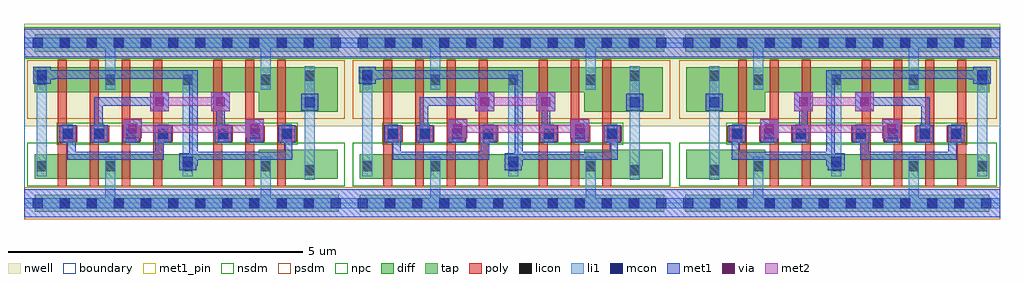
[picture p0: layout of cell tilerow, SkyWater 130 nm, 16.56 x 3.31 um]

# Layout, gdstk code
from math import pi, radians
import gdstk
lib = gdstk.Library(unit=1e-6, precision=1e-09)
def R(c, l, rs):  # rectangles x0, y0, x1, y1
    for r in rs: c.add(gdstk.rectangle(r[:2], r[2:], *l))
def A(c, l, x, y, w, h, nx, ny, dx, dy):  # array of equal rectangles
    R(c, l, [(x+i*dx, y+j*dy, x+i*dx+w, y+j*dy+h) for i in range(nx) for j in range(ny)])
nwell = (64, 20)
diff = (65, 20)
tap = (65, 44)
poly = (66, 20)
licon = (66, 44)
li1 = (67, 20)
mcon = (67, 44)
met1_pin = (68, 16)
met1 = (68, 20)
via = (68, 44)
met2 = (69, 20)
nsdm = (93, 44)
psdm = (94, 20)
npc = (95, 20)
boundary = (235, 4)

maj3 = lib.new_cell('maj3')
R(maj3, nwell, [(0,1.31,5.52,3.045)])
R(maj3, diff, [(0.18,0.415,4.295,0.835), (3.985,0.415,5.32,0.905), (3.985,1.555,5.32,2.305), (0.18,1.885,4.295,2.305)])
R(maj3, tap, [(0.18,-0.145,5.34,0.145), (0.18,2.575,5.34,2.865)])
A(maj3, poly, 0.575, 0.285, 0.15, 2.15, 4, 1, 0.54, 0)
A(maj3, poly, 3.215, 0.285, 0.15, 2.15, 3, 1, 0.54, 0)
A(maj3, poly, 0.575, 1.045, 0.33, 0.27, 4, 1, 0.54, 0)
A(maj3, poly, 3.215, 1.045, 0.33, 0.27, 3, 1, 0.54, 0)
A(maj3, licon, 0.605, -0.085, 0.17, 0.17, 10, 2, 0.46, 2.72)
A(maj3, licon, 1.375, 0.54, 0.17, 0.17, 3, 2, 1.32, 1.47)
A(maj3, licon, 0.655, 1.095, 0.17, 0.17, 4, 1, 0.54, 0)
A(maj3, licon, 3.295, 1.095, 0.17, 0.17, 3, 1, 0.54, 0)
R(maj3, licon, [(4.76,0.475,4.93,0.645), (0.22,0.54,0.39,0.71), (0.22,2.01,0.39,2.18), (4.76,2.075,4.93,2.245)])
A(maj3, li1, 1.375, 0.46, 0.17, 0.33, 3, 2, 1.32, 1.47)
A(maj3, li1, 0.655, 1.015, 0.17, 0.33, 4, 1, 0.54, 0)
A(maj3, li1, 3.295, 1.015, 0.17, 0.33, 3, 1, 0.54, 0)
R(maj3, li1, [(0,-0.085,5.52,0.085), (1.375,-0.085,1.545,0.79), (4.015,-0.085,4.185,0.79), (4.76,0.395,4.93,0.725), (4.76,0.395,4.93,2.325), (0.22,0.46,0.39,0.79), (0.22,0.46,0.39,2.26), (2.695,0.46,2.865,2.26), (0.22,1.93,0.39,2.26), (1.375,1.93,1.545,2.805), (4.015,1.93,4.185,2.805), (4.76,1.995,4.93,2.325), (0,2.635,5.52,2.805)])
A(maj3, mcon, 0.145, -0.085, 0.17, 0.17, 12, 2, 0.46, 2.72)
A(maj3, mcon, 0.655, 1.095, 0.17, 0.17, 4, 1, 0.54, 0)
A(maj3, mcon, 3.295, 1.095, 0.17, 0.17, 3, 1, 0.54, 0)
R(maj3, mcon, [(2.695,0.62,2.865,0.79), (4.76,1.63,4.93,1.8), (0.22,2.09,0.39,2.26)])
A(maj3, met1_pin, 0.595, 1.035, 0.29, 0.29, 3, 1, 0.54, 0)
R(maj3, met1_pin, [(0,-0.24,5.52,0.24), (4.7,1.57,4.99,1.86), (0,2.48,5.52,2.96)])
A(maj3, met1, 0.595, 1.035, 0.29, 0.29, 4, 1, 0.54, 0)
A(maj3, met1, 3.235, 1.035, 0.29, 0.29, 3, 1, 0.54, 0)
A(maj3, met1, 3.265, 1.08, 0.14, 0.14, 3, 1, 0.575, 0)
R(maj3, met1, [(0,-0.24,5.52,0.24), (2.635,0.56,2.925,0.85), (2.71,0.635,2.945,0.775), (2.805,0.635,2.945,0.875), (0.735,0.735,0.875,1.22), (0.735,0.735,2.37,0.875), (2.23,0.735,2.37,1.22), (2.805,0.735,4.555,0.875), (2.805,0.735,2.945,2.255), (4.415,0.735,4.555,1.22), (0.735,1.08,0.875,1.22), (1.195,1.08,1.335,1.22), (1.195,1.08,1.335,1.795), (1.77,1.08,1.91,1.22), (1.77,1.08,1.91,1.335), (2.23,1.08,2.37,1.22), (3.265,1.08,3.405,1.795), (3.84,1.08,3.98,1.335), (1.68,1.105,2,1.425), (3.75,1.105,4.07,1.425), (2.14,1.565,2.46,1.885), (3.175,1.565,3.495,1.885), (4.7,1.57,4.99,1.86), (1.195,1.655,2.37,1.795), (0.16,2.03,0.45,2.32), (0.235,2.105,0.53,2.245), (0.39,2.105,0.53,2.255), (0.39,2.115,2.945,2.255), (0,2.48,5.52,2.96)])
R(maj3, via, [(1.765,1.19,1.915,1.34), (3.835,1.19,3.985,1.34), (2.225,1.65,2.375,1.8), (3.26,1.65,3.41,1.8)])
R(maj3, met2, [(1.68,1.105,2,1.425), (3.75,1.105,4.07,1.425), (1.77,1.195,3.98,1.335), (2.14,1.565,2.46,1.885), (3.175,1.565,3.495,1.885), (2.23,1.655,3.405,1.795)])
R(maj3, nsdm, [(0.055,0.29,5.445,1.03), (0,2.45,5.52,2.99)])
R(maj3, psdm, [(0,-0.27,5.52,0.27), (0.055,1.43,5.445,2.43)])
R(maj3, npc, [(0.555,0.995,4.645,1.365)])
R(maj3, boundary, [(0,0,5.52,2.72)])
maj3.add(gdstk.Label('n3', (0.305,0.625), layer=67, texttype=5))
maj3.add(gdstk.Label('A', (1.82,1.18), layer=68, texttype=5))
maj3.add(gdstk.Label('B', (0.74,1.18), layer=68, texttype=5))
maj3.add(gdstk.Label('C', (1.28,1.18), layer=68, texttype=5))
maj3.add(gdstk.Label('X', (4.845,1.715), layer=68, texttype=5))
maj3.add(gdstk.Label('VPWR', (2.76,2.72), layer=68, texttype=5))
maj3.add(gdstk.Label('VGND', (2.76,0), layer=68, texttype=5))
maj3.add(gdstk.Label('A', (1.82,1.18), layer=68, texttype=16))
maj3.add(gdstk.Label('B', (0.74,1.18), layer=68, texttype=16))
maj3.add(gdstk.Label('C', (1.28,1.18), layer=68, texttype=16))
maj3.add(gdstk.Label('X', (4.845,1.715), layer=68, texttype=16))
maj3.add(gdstk.Label('VPWR', (2.76,2.72), layer=68, texttype=16))
maj3.add(gdstk.Label('VGND', (2.76,0), layer=68, texttype=16))

tilerow = lib.new_cell('tilerow')
tilerow.add(gdstk.Reference(maj3, (0,0)))
tilerow.add(gdstk.Reference(maj3, (5.52,0)))
tilerow.add(gdstk.Reference(maj3, (16.56,0), rotation=pi, x_reflection=True))

lib.write_gds('tilerow.gds')
